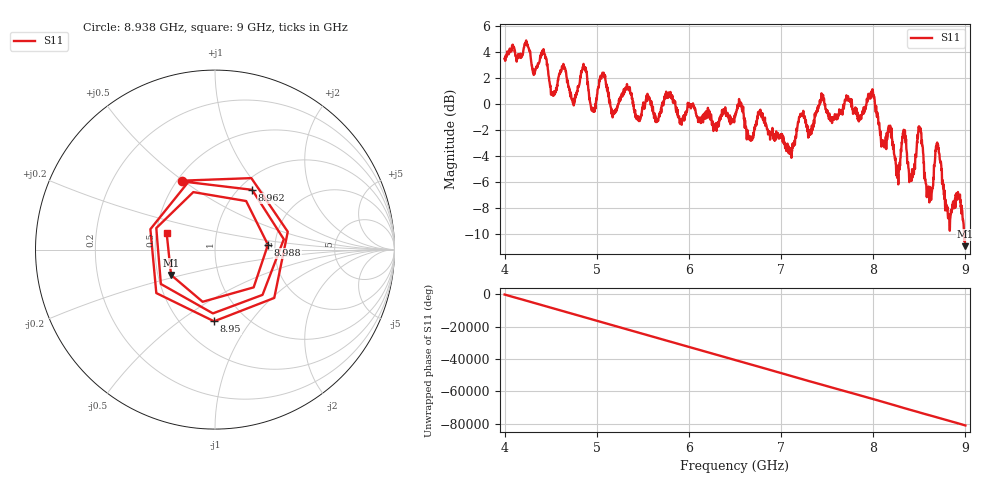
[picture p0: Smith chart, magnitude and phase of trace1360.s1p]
! Created with skrf 1.8.0 (http://scikit-rf.org).
# Hz S RI R 50.0
!freq ReS11 ImS11
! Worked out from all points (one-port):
!   1601 points, 4 GHz to 9 GHz, reference 50 ohm
!   lowest |S11| = -11.0 dB at 8.997 GHz (marker M1), VSWR 1.79, Z = 29.3 - j9.01 ohm
!   |S11| at or under -10 dB: 8.984797 GHz to end of sweep
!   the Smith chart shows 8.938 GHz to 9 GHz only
!   S11 on the Smith chart (normalised r, x): 8.938 GHz: 0.53, +0.49; 8.95 GHz: 0.72, -0.68; 8.962 GHz: 1.14, +0.90; 8.988 GHz: 1.83, +0.11; 9 GHz: 0.57, +0.11
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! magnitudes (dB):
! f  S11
! 4 GHz  3.5
! 4.422 GHz  4.2
! 4.528 GHz  0.6
! 4.625 GHz  2.8
! 4.741 GHz  0.1
! 4.862 GHz  2.7
! 4.956 GHz  -0.5
! 5.059 GHz  2.3
! 5.25 GHz  0.4
! 5.875 GHz  -0.9
! 6.5 GHz  -1.0
! 7.125 GHz  -3.4
! 7.219 GHz  -0.9
! 7.75 GHz  0.2
! 7.991 GHz  1.1
! 8.106 GHz  -2.8
! 8.375 GHz  -4.6
! 8.416 GHz  -5.9
! 8.506 GHz  -1.9
! 8.603 GHz  -6.8
! 8.697 GHz  -3.1
! 8.812 GHz  -8.8
! 8.938 GHz  -7.4
! 8.95 GHz  -8.0
! 8.962 GHz  -8.1
! 8.988 GHz  -10.6
! 8.997 GHz  -11.0
! 9 GHz  -10.9
